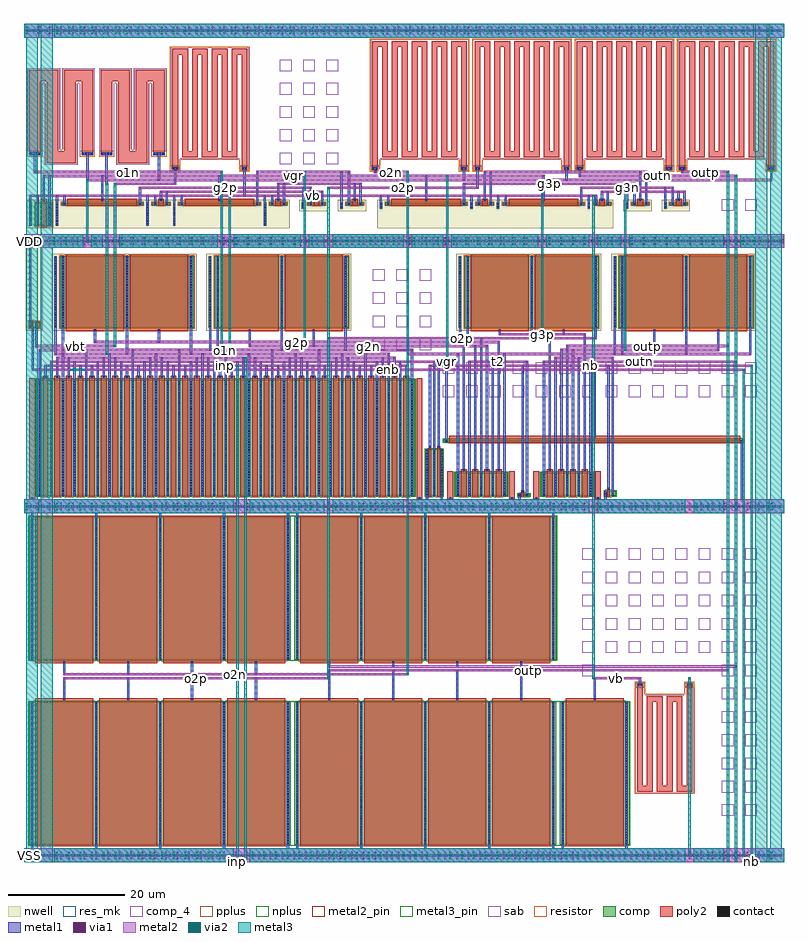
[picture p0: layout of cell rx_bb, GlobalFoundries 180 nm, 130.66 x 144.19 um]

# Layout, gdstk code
import gdstk
lib = gdstk.Library(unit=1e-6, precision=1e-09)
def R(c, l, rs):  # rectangles x0, y0, x1, y1
    for r in rs: c.add(gdstk.rectangle(r[:2], r[2:], *l))
def A(c, l, x, y, w, h, nx, ny, dx, dy):  # array of equal rectangles
    R(c, l, [(x+i*dx, y+j*dy, x+i*dx+w, y+j*dy+h) for i in range(nx) for j in range(ny)])
nwell = (21, 0)
comp = (22, 0)
comp_4 = (22, 4)
poly2 = (30, 0)
pplus = (31, 0)
nplus = (32, 0)
contact = (33, 0)
metal1 = (34, 0)
via1 = (35, 0)
metal2 = (36, 0)
metal2_pin = (36, 10)
via2 = (38, 0)
metal3 = (42, 0)
metal3_pin = (42, 10)
sab = (49, 0)
resistor = (62, 0)
res_mk = (110, 5)

rx_bb = lib.new_cell('rx_bb')
R(rx_bb, nwell, [(0.3,89.005,3.23,103.72), (4.78,89.005,29.66,102.27), (31.36,89.005,56.24,102.27), (74.35,89.005,99.23,102.27), (100.93,89.005,125.81,102.27), (0.15,103.72,130.51,105.12), (0.45,106.57,45.65,111.55), (60.71,106.57,101.33,111.55), (47.35,109.57,52.23,111.55), (53.93,109.57,58.81,111.55), (103.03,109.57,107.91,111.55), (109.61,109.57,114.49,111.55)])
A(rx_bb, comp, 96.9, 110.02, 0.38, 1, 3, 1, 6.58, 0)
A(rx_bb, comp, 42.2, 110.6, 3, 0.42, 3, 1, 6.58, 0)
A(rx_bb, comp, 97.88, 110.6, 3, 0.42, 3, 1, 6.58, 0)
R(rx_bb, comp, [(0.3,-1.39,130.36,-1.01), (0.9,0.6,45.9,25.17), (46.5,0.6,91.5,25.17), (92.1,0.6,104.1,25.17), (0.9,32.415,45.9,56.985), (46.5,32.415,91.5,56.985), (0.3,58.595,130.36,58.975), (85,60.545,85.38,60.585), (86.3,60.545,86.68,60.585), (2.2,60.585,67.2,80.585), (69.1,60.585,72,68.585), (74.1,60.585,83.1,64.585), (85,60.585,86.99,60.885), (88.89,60.585,97.89,64.585), (99.79,60.585,101.74,61.385), (85,60.885,85.38,60.925), (86.3,60.885,86.68,60.925), (72.13,69.855,123.58,70.275), (0.9,89.535,2.63,90.535), (5.23,89.535,5.61,101.82), (6.21,89.535,29.21,101.82), (31.81,89.535,32.19,101.82), (32.79,89.535,55.79,101.82), (74.8,89.535,75.18,101.82), (75.78,89.535,98.78,101.82), (101.38,89.535,101.76,101.82), (102.36,89.535,125.36,101.82), (0.3,104.23,130.36,104.61), (0.9,107.02,1.28,111.02), (1.88,107.02,4.88,111.02), (5.48,107.02,5.86,111.02), (21.06,107.02,21.44,111.02), (25.64,107.02,26.02,111.02), (41.22,107.02,41.6,111.02), (47.8,110.02,48.18,111.02), (54.38,110.02,54.76,111.02), (61.16,110.02,61.54,111.02), (76.74,110.02,77.12,111.02), (81.32,110.02,81.7,111.02), (6.46,110.6,20.46,111.02), (22.04,110.6,25.04,111.02), (26.62,110.6,40.62,111.02), (62.14,110.6,76.14,111.02), (77.72,110.6,80.72,111.02), (82.3,110.6,96.3,111.02), (0.3,140.395,130.36,140.775)])
A(rx_bb, comp_4, 120, 5.6, 2, 2, 1, 7, 0, 4)
A(rx_bb, comp_4, 124, 5.6, 2, 2, 1, 7, 0, 4)
A(rx_bb, comp_4, 96, 33.6, 2, 2, 8, 5, 4, 4)
A(rx_bb, comp_4, 72, 77.6, 2, 2, 14, 2, 4, 4)
A(rx_bb, comp_4, 60, 85.6, 2, 2, 3, 4, 4, 4)
A(rx_bb, comp_4, 44, 117.6, 2, 2, 3, 5, 4, 4)
R(rx_bb, comp_4, [(96,29.6,98,31.6), (120,109.6,122,111.6), (124,109.6,126,111.6)])
A(rx_bb, poly2, 1.9, 0.37, 10, 25.43, 4, 2, 11, 31.415)
A(rx_bb, poly2, 47.5, 0.37, 10, 25.43, 4, 2, 11, 31.415)
A(rx_bb, poly2, 105.4, 9.755, 2.7, 1, 3, 1, 3.4, 0)
A(rx_bb, poly2, 107.1, 10.755, 1, 14.415, 4, 1, 1.7, 0)
A(rx_bb, poly2, 3.2, 60.355, 1, 20.86, 32, 1, 2, 0)
A(rx_bb, poly2, 75.1, 60.355, 1, 4.86, 4, 1, 2, 0)
A(rx_bb, poly2, 89.89, 60.355, 1, 4.86, 4, 1, 2, 0)
A(rx_bb, poly2, 43.2, 110.37, 1, 1.28, 3, 1, 6.58, 0)
A(rx_bb, poly2, 98.88, 110.37, 1, 1.28, 3, 1, 6.58, 0)
A(rx_bb, poly2, 27.2, 118.815, 2.7, 1, 3, 1, 3.4, 0)
A(rx_bb, poly2, 61.56, 118.815, 2.7, 1, 4, 1, 3.4, 0)
A(rx_bb, poly2, 79.16, 118.815, 2.7, 1, 4, 1, 3.4, 0)
A(rx_bb, poly2, 96.76, 118.815, 2.7, 1, 4, 1, 3.4, 0)
A(rx_bb, poly2, 114.36, 118.815, 2.7, 1, 4, 1, 3.4, 0)
A(rx_bb, poly2, 27.2, 119.815, 1, 16.64, 6, 1, 1.7, 0)
A(rx_bb, poly2, 61.56, 119.815, 1, 17.97, 8, 1, 1.7, 0)
A(rx_bb, poly2, 79.16, 119.815, 1, 17.97, 8, 1, 1.7, 0)
A(rx_bb, poly2, 96.76, 119.815, 1, 17.97, 8, 1, 1.7, 0)
A(rx_bb, poly2, 114.36, 119.815, 1, 17.97, 8, 1, 1.7, 0)
A(rx_bb, poly2, 25.5, 136.455, 2.7, 1, 4, 1, 3.4, 0)
A(rx_bb, poly2, 59.86, 137.785, 2.7, 1, 5, 1, 3.4, 0)
A(rx_bb, poly2, 77.46, 137.785, 2.7, 1, 5, 1, 3.4, 0)
A(rx_bb, poly2, 95.06, 137.785, 2.7, 1, 5, 1, 3.4, 0)
A(rx_bb, poly2, 112.66, 137.785, 2.7, 1, 5, 1, 3.4, 0)
R(rx_bb, poly2, [(93.1,0.37,103.1,25.8), (105.4,10.755,106.4,28.28), (113.9,10.755,114.9,28.28), (107.1,25.17,109.8,26.17), (110.5,25.17,113.2,26.17), (0.9,60.015,1.9,80.815), (67.5,60.015,68.5,80.815), (72.8,60.015,73.8,64.815), (83.4,60.015,84.4,64.815), (87.59,60.015,88.59,64.815), (98.19,60.015,99.19,64.815), (69.55,60.355,70.05,69.215), (71.05,60.355,71.55,69.215), (85.49,60.355,85.99,61.555), (100.24,60.355,100.74,62.015), (73.13,69.625,123.13,70.905), (1.305,88.905,1.675,89.275), (7.21,88.905,17.21,102.05), (18.21,88.905,28.21,102.05), (33.79,88.905,43.79,102.05), (44.79,88.905,54.79,102.05), (76.78,88.905,86.78,102.05), (87.78,88.905,97.78,102.05), (103.36,88.905,113.36,102.05), (114.36,88.905,124.36,102.05), (1.35,89.275,1.63,90.765), (2.88,106.79,3.88,111.65), (7.46,110.37,19.46,111.65), (23.04,110.37,24.04,111.65), (27.62,110.37,39.62,111.65), (63.14,110.37,75.14,111.65), (78.72,110.37,79.72,111.65), (83.3,110.37,95.3,111.65), (25.5,116.705,26.5,136.455), (37.4,116.705,38.4,136.455), (59.86,116.705,60.86,137.785), (75.16,116.705,76.16,137.785), (77.46,116.705,78.46,137.785), (92.76,116.705,93.76,137.785), (95.06,116.705,96.06,137.785), (110.36,116.705,111.36,137.785), (112.66,116.705,113.66,137.785), (127.96,116.705,128.96,137.785), (3.9,117.815,8.9,119.815), (16.2,117.815,21.2,119.815), (0.9,119.205,2.9,131.85), (9.9,119.205,11.9,131.85), (13.2,119.205,15.2,131.85), (22.2,119.205,24.2,131.85), (3.9,119.815,5.9,131.85), (6.9,119.815,8.9,131.85), (16.2,119.815,18.2,131.85), (19.2,119.815,21.2,131.85), (0.9,131.85,5.9,133.85), (6.9,131.85,11.9,133.85), (13.2,131.85,18.2,133.85), (19.2,131.85,24.2,133.85)])
A(rx_bb, pplus, 42.97, 110.37, 1.46, 0.07, 3, 1, 6.58, 0)
A(rx_bb, pplus, 98.65, 110.37, 1.46, 0.07, 3, 2, 6.58, 0.81)
A(rx_bb, pplus, 42.04, 110.44, 3.32, 0.74, 3, 1, 6.58, 0)
A(rx_bb, pplus, 97.72, 110.44, 3.32, 0.74, 3, 1, 6.58, 0)
A(rx_bb, pplus, 2.65, 111.18, 1.46, 0.07, 3, 1, 20.16, 0)
R(rx_bb, pplus, [(0.28,-1.41,130.38,-0.99), (105.2,27.67,106.6,28.48), (113.7,27.67,115.1,28.48), (0.28,58.575,130.38,58.995), (1.12,89.305,1.86,89.375), (6.98,89.305,17.44,89.375), (17.98,89.305,28.44,89.375), (33.56,89.305,44.02,89.375), (44.56,89.305,55.02,89.375), (76.55,89.305,87.01,89.375), (87.55,89.305,98.01,89.375), (103.13,89.305,113.59,89.375), (114.13,89.305,124.59,89.375), (0.74,89.375,2.79,90.695), (6.05,89.375,29.37,101.98), (32.63,89.375,55.95,101.98), (75.62,89.375,98.94,101.98), (102.2,89.375,125.52,101.98), (1.12,90.695,1.86,90.765), (6.98,101.98,17.44,102.05), (17.98,101.98,28.44,102.05), (33.56,101.98,44.02,102.05), (44.56,101.98,55.02,102.05), (76.55,101.98,87.01,102.05), (87.55,101.98,98.01,102.05), (103.13,101.98,113.59,102.05), (114.13,101.98,124.59,102.05), (2.65,106.79,4.11,106.86), (1.72,106.86,5.04,111.18), (7.23,110.37,19.69,110.44), (22.81,110.37,24.27,110.44), (27.39,110.37,39.85,110.44), (62.91,110.37,75.37,110.44), (78.49,110.37,79.95,110.44), (83.07,110.37,95.53,110.44), (6.3,110.44,20.62,111.18), (21.88,110.44,25.2,111.18), (26.46,110.44,40.78,111.18), (61.98,110.44,76.3,111.18), (77.56,110.44,80.88,111.18), (82.14,110.44,96.46,111.18), (7.23,111.18,19.69,111.25), (27.39,111.18,39.85,111.25), (49.55,111.18,51.01,111.25), (56.13,111.18,57.59,111.25), (62.91,111.18,75.37,111.25), (78.49,111.18,79.95,111.25), (83.07,111.18,95.53,111.25), (25.3,116.505,26.7,117.315), (37.2,116.505,38.6,117.315), (59.66,116.505,61.06,117.315), (74.96,116.505,76.36,117.315), (77.26,116.505,78.66,117.315), (92.56,116.505,93.96,117.315), (94.86,116.505,96.26,117.315), (110.16,116.505,111.56,117.315), (112.46,116.505,113.86,117.315), (127.76,116.505,129.16,117.315), (3.6,117.515,9.2,120.115), (15.9,117.515,21.5,120.115), (0.6,118.905,3.2,131.55), (9.6,118.905,12.2,131.55), (12.9,118.905,15.5,131.55), (21.9,118.905,24.5,131.55), (3.6,120.115,6.2,131.55), (6.6,120.115,9.2,131.55), (15.9,120.115,18.5,131.55), (18.9,120.115,21.5,131.55), (0.6,131.55,6.2,134.15), (6.6,131.55,12.2,134.15), (12.9,131.55,18.5,134.15), (18.9,131.55,24.5,134.15), (0.28,140.375,130.38,140.795)])
A(rx_bb, nplus, 1.67, 0.37, 10.46, 0.07, 4, 2, 11, 24.96)
A(rx_bb, nplus, 47.27, 0.37, 10.46, 0.07, 4, 2, 11, 24.96)
A(rx_bb, nplus, 1.67, 32.185, 10.46, 0.07, 4, 2, 11, 24.96)
A(rx_bb, nplus, 47.27, 32.185, 10.46, 0.07, 4, 2, 11, 24.96)
A(rx_bb, nplus, 2.97, 60.355, 1.46, 0.07, 32, 2, 2, 20.39)
A(rx_bb, nplus, 74.87, 60.355, 1.46, 0.07, 4, 2, 2, 4.39)
A(rx_bb, nplus, 89.66, 60.355, 1.46, 0.07, 4, 2, 2, 4.39)
A(rx_bb, nplus, 96.88, 110, 0.42, 1.04, 3, 1, 6.58, 0)
R(rx_bb, nplus, [(92.87,0.37,103.33,0.44), (0.74,0.44,104.26,25.33), (92.87,25.33,103.33,25.4), (0.74,32.255,91.66,57.145), (69.32,60.355,70.28,60.425), (70.82,60.355,71.78,60.425), (85.26,60.355,86.22,60.385), (100.01,60.355,100.97,60.425), (84.84,60.385,86.84,60.425), (2.04,60.425,67.36,80.745), (68.94,60.425,72.16,68.745), (73.94,60.425,83.26,64.745), (84.84,60.425,87.15,61.045), (88.73,60.425,98.05,64.745), (99.63,60.425,101.9,61.545), (84.84,61.045,86.84,61.085), (85.26,61.085,86.22,61.115), (100.01,61.545,100.97,61.615), (69.32,68.745,70.28,68.815), (70.82,68.745,71.78,68.815), (72.9,69.625,123.36,69.695), (71.97,69.695,123.74,70.435), (72.9,70.435,123.36,70.505), (5.21,89.515,5.63,101.84), (31.79,89.515,32.21,101.84), (74.78,89.515,75.2,101.84), (101.36,89.515,101.78,101.84), (0.14,104.07,0.74,104.21), (129.92,104.07,130.52,104.21), (0.14,104.21,130.52,104.63), (0.14,104.63,0.74,104.77), (129.92,104.63,130.52,104.77), (0.88,107,1.3,111.04), (5.46,107,5.88,111.04), (21.04,107,21.46,111.04), (25.62,107,26.04,111.04), (41.2,107,41.62,111.04), (47.78,110,48.2,111.04), (54.36,110,54.78,111.04), (61.14,110,61.56,111.04), (76.72,110,77.14,111.04), (81.3,110,81.72,111.04)])
A(rx_bb, contact, 0.595, -1.31, 0.22, 0.22, 276, 2, 0.47, 59.985)
A(rx_bb, contact, 1.29, 0.79, 0.22, 0.22, 5, 52, 11, 0.47)
A(rx_bb, contact, 46.89, 0.79, 0.22, 0.22, 5, 52, 11, 0.47)
A(rx_bb, contact, 92.49, 0.79, 0.22, 0.22, 1, 52, 0, 0.47)
A(rx_bb, contact, 103.49, 0.79, 0.22, 0.22, 1, 52, 0, 0.47)
A(rx_bb, contact, 6.79, 25.505, 0.22, 0.22, 4, 2, 11, 6.355)
A(rx_bb, contact, 52.39, 25.505, 0.22, 0.22, 4, 2, 11, 6.355)
A(rx_bb, contact, 1.29, 32.605, 0.22, 0.22, 5, 52, 11, 0.47)
A(rx_bb, contact, 46.89, 32.605, 0.22, 0.22, 5, 52, 11, 0.47)
A(rx_bb, contact, 69.175, 60.715, 0.22, 0.22, 3, 17, 1.265, 0.47)
A(rx_bb, contact, 74.49, 60.83, 0.22, 0.22, 5, 8, 2, 0.47)
A(rx_bb, contact, 89.28, 60.83, 0.22, 0.22, 5, 8, 2, 0.47)
A(rx_bb, contact, 2.59, 60.84, 0.22, 0.22, 33, 42, 2, 0.47)
A(rx_bb, contact, 75.49, 64.92, 0.22, 0.22, 4, 1, 2, 0)
A(rx_bb, contact, 90.28, 64.92, 0.22, 0.22, 4, 1, 2, 0)
A(rx_bb, contact, 3.59, 80.92, 0.22, 0.22, 32, 1, 2, 0)
A(rx_bb, contact, 5.31, 89.69, 0.22, 0.22, 1, 26, 0, 0.47)
A(rx_bb, contact, 6.6, 89.69, 0.22, 0.22, 3, 26, 11, 0.47)
A(rx_bb, contact, 31.89, 89.69, 0.22, 0.22, 1, 26, 0, 0.47)
A(rx_bb, contact, 33.18, 89.69, 0.22, 0.22, 3, 26, 11, 0.47)
A(rx_bb, contact, 74.88, 89.69, 0.22, 0.22, 1, 26, 0, 0.47)
A(rx_bb, contact, 76.17, 89.69, 0.22, 0.22, 3, 26, 11, 0.47)
A(rx_bb, contact, 101.46, 89.69, 0.22, 0.22, 1, 26, 0, 0.47)
A(rx_bb, contact, 102.75, 89.69, 0.22, 0.22, 3, 26, 11, 0.47)
A(rx_bb, contact, 0.595, 104.31, 0.22, 0.22, 276, 2, 0.47, 36.165)
A(rx_bb, contact, 0.98, 107.265, 0.22, 0.22, 1, 8, 0, 0.47)
A(rx_bb, contact, 2.27, 107.265, 0.22, 0.22, 1, 8, 0, 0.47)
A(rx_bb, contact, 4.27, 107.265, 0.22, 0.22, 1, 8, 0, 0.47)
A(rx_bb, contact, 5.56, 107.265, 0.22, 0.22, 1, 8, 0, 0.47)
A(rx_bb, contact, 21.14, 107.265, 0.22, 0.22, 1, 8, 0, 0.47)
A(rx_bb, contact, 25.72, 107.265, 0.22, 0.22, 1, 8, 0, 0.47)
A(rx_bb, contact, 41.3, 107.265, 0.22, 0.22, 1, 8, 0, 0.47)
A(rx_bb, contact, 96.98, 110.175, 0.22, 0.22, 3, 2, 6.58, 0.47)
A(rx_bb, contact, 3.27, 111.355, 0.22, 0.22, 5, 1, 10.08, 0)
A(rx_bb, contact, 69.03, 111.355, 0.22, 0.22, 4, 1, 10.08, 0)
A(rx_bb, contact, 1.085, 119.375, 0.22, 0.22, 4, 1, 0.47, 0)
A(rx_bb, contact, 10.085, 119.375, 0.22, 0.22, 4, 1, 0.47, 0)
A(rx_bb, contact, 13.385, 119.375, 0.22, 0.22, 4, 1, 0.47, 0)
A(rx_bb, contact, 22.385, 119.375, 0.22, 0.22, 4, 1, 0.47, 0)
R(rx_bb, contact, [(97.99,25.505,98.21,25.725), (105.555,27.99,105.775,28.21), (106.025,27.99,106.245,28.21), (114.055,27.99,114.275,28.21), (114.525,27.99,114.745,28.21), (1.29,60.09,1.51,60.31), (67.89,60.09,68.11,60.31), (73.19,60.09,73.41,60.31), (83.79,60.09,84.01,60.31), (87.98,60.09,88.2,60.31), (98.58,60.09,98.8,60.31), (85.08,60.625,85.3,60.845), (86.38,60.625,86.6,60.845), (99.865,60.875,100.085,61.095), (101.13,60.875,101.35,61.095), (85.63,61.26,85.85,61.48), (100.38,61.72,100.6,61.94), (69.69,68.92,69.91,69.14), (71.19,68.92,71.41,69.14), (72.52,69.955,72.74,70.175), (123.285,69.955,123.505,70.175), (98.02,70.61,98.24,70.83), (1.38,88.98,1.6,89.2), (12.1,88.98,12.32,89.2), (23.1,88.98,23.32,89.2), (38.68,88.98,38.9,89.2), (49.68,88.98,49.9,89.2), (81.67,88.98,81.89,89.2), (92.67,88.98,92.89,89.2), (108.25,88.98,108.47,89.2), (119.25,88.98,119.47,89.2), (0.975,89.69,1.195,89.91), (2.02,89.69,2.24,89.91), (0.975,90.16,1.195,90.38), (2.02,90.16,2.24,90.38), (47.88,110.175,48.1,110.395), (54.46,110.175,54.68,110.395), (61.24,110.175,61.46,110.395), (76.82,110.175,77.04,110.395), (81.4,110.175,81.62,110.395), (47.88,110.645,48.1,110.865), (54.46,110.645,54.68,110.865), (61.24,110.645,61.46,110.865), (76.82,110.645,77.04,110.865), (81.4,110.645,81.62,110.865), (6.85,110.7,7.07,110.92), (19.85,110.7,20.07,110.92), (22.43,110.7,22.65,110.92), (24.43,110.7,24.65,110.92), (27.01,110.7,27.23,110.92), (40.01,110.7,40.23,110.92), (42.59,110.7,42.81,110.92), (44.59,110.7,44.81,110.92), (49.17,110.7,49.39,110.92), (51.17,110.7,51.39,110.92), (55.75,110.7,55.97,110.92), (57.75,110.7,57.97,110.92), (62.53,110.7,62.75,110.92), (75.53,110.7,75.75,110.92), (78.11,110.7,78.33,110.92), (80.11,110.7,80.33,110.92), (82.69,110.7,82.91,110.92), (95.69,110.7,95.91,110.92), (98.27,110.7,98.49,110.92), (100.27,110.7,100.49,110.92), (104.85,110.7,105.07,110.92), (106.85,110.7,107.07,110.92), (111.43,110.7,111.65,110.92), (113.43,110.7,113.65,110.92), (50.17,111.355,50.39,111.575), (56.75,111.355,56.97,111.575), (105.85,111.355,106.07,111.575), (112.43,111.355,112.65,111.575), (25.655,116.775,25.875,116.995), (26.125,116.775,26.345,116.995), (37.555,116.775,37.775,116.995), (38.025,116.775,38.245,116.995), (60.015,116.775,60.235,116.995), (60.485,116.775,60.705,116.995), (75.315,116.775,75.535,116.995), (75.785,116.775,76.005,116.995), (77.615,116.775,77.835,116.995), (78.085,116.775,78.305,116.995), (92.915,116.775,93.135,116.995), (93.385,116.775,93.605,116.995), (95.215,116.775,95.435,116.995), (95.685,116.775,95.905,116.995), (110.515,116.775,110.735,116.995), (110.985,116.775,111.205,116.995), (112.815,116.775,113.035,116.995), (113.285,116.775,113.505,116.995), (128.115,116.775,128.335,116.995), (128.585,116.775,128.805,116.995)])
A(rx_bb, metal1, 1.21, 0, 0.38, 25.175, 5, 2, 11, 32.41)
A(rx_bb, metal1, 46.81, 0, 0.38, 25.175, 5, 2, 11, 32.41)
A(rx_bb, metal1, 6.71, 25.425, 0.38, 4.005, 4, 1, 11, 0)
A(rx_bb, metal1, 52.31, 25.425, 0.38, 5.365, 4, 1, 11, 0)
A(rx_bb, metal1, 6.71, 29.73, 0.38, 2.43, 4, 1, 11, 0)
A(rx_bb, metal1, 52.31, 31.09, 0.38, 1.07, 4, 1, 11, 0)
A(rx_bb, metal1, 2.51, 60.58, 0.38, 25.29, 9, 1, 8, 0)
A(rx_bb, metal1, 4.51, 60.58, 0.38, 23.25, 16, 1, 4, 0)
A(rx_bb, metal1, 14.51, 60.58, 0.38, 24.61, 7, 1, 8, 0)
A(rx_bb, metal1, 102.67, 84.81, 0.38, 17.015, 3, 1, 11, 0)
A(rx_bb, metal1, 33.1, 85.49, 0.38, 16.335, 3, 1, 11, 0)
A(rx_bb, metal1, 76.09, 87.53, 0.38, 14.295, 3, 1, 11, 0)
A(rx_bb, metal1, 75.47, 114.73, 0.38, 1.975, 4, 1, 17.6, 0)
R(rx_bb, metal1, [(0,-2.4,130.66,0), (92.41,0,92.79,25.175), (103.41,0,103.79,25.175), (97.91,25.425,98.29,29.43), (105.4,27.92,106.4,28.28), (113.9,27.92,114.9,28.28), (105.71,28.28,106.09,29.43), (114.21,28.28,114.59,29.43), (0,57.585,130.66,59.985), (1.21,59.985,1.59,60.385), (67.81,59.985,68.19,60.385), (69.095,59.985,69.475,68.59), (71.625,59.985,72.005,68.59), (73.11,59.985,73.49,60.385), (83.71,59.985,84.09,60.385), (85,59.985,85.38,60.93), (87.9,59.985,88.28,60.385), (98.5,59.985,98.88,60.385), (99.785,59.985,100.165,61.39), (123.205,59.985,123.585,70.28), (86.3,60.54,86.68,83.83), (6.51,60.58,6.89,84.81), (70.36,60.58,70.74,83.83), (74.41,60.58,74.79,85.19), (76.41,60.58,76.79,83.83), (78.41,60.58,78.79,87.91), (80.41,60.58,80.79,83.83), (82.41,60.58,82.79,85.19), (89.2,60.58,89.58,83.83), (91.2,60.58,91.58,84.51), (93.2,60.58,93.58,86.55), (95.2,60.58,95.58,84.51), (97.2,60.58,97.58,83.83), (101.05,60.58,101.43,84.51), (85.55,61.18,85.93,83.15), (100.3,61.64,100.68,83.15), (75.41,64.84,75.79,87.23), (77.41,64.84,77.79,86.55), (79.41,64.84,79.79,86.55), (81.41,64.84,81.79,87.23), (90.2,64.84,90.58,88.59), (92.2,64.84,92.58,85.87), (94.2,64.84,94.58,85.87), (96.2,64.84,96.58,88.59), (69.61,68.84,69.99,83.15), (71.11,68.84,71.49,83.15), (72.44,69.85,72.82,83.83), (97.94,70.53,98.32,83.15), (3.51,80.84,3.89,83.15), (5.51,80.84,5.89,84.51), (7.51,80.84,7.89,84.51), (9.51,80.84,9.89,83.15), (11.51,80.84,11.89,83.15), (13.51,80.84,13.89,84.51), (15.51,80.84,15.89,84.51), (17.51,80.84,17.89,83.15), (19.51,80.84,19.89,83.15), (21.51,80.84,21.89,84.51), (23.51,80.84,23.89,84.51), (25.51,80.84,25.89,83.15), (27.51,80.84,27.89,83.15), (29.51,80.84,29.89,84.51), (31.51,80.84,31.89,84.51), (33.51,80.84,33.89,83.15), (35.51,80.84,35.89,83.15), (37.51,80.84,37.89,84.51), (39.51,80.84,39.89,84.51), (41.51,80.84,41.89,83.15), (43.51,80.84,43.89,83.15), (45.51,80.84,45.89,84.51), (47.51,80.84,47.89,84.51), (49.51,80.84,49.89,83.15), (51.51,80.84,51.89,83.15), (53.51,80.84,53.89,84.51), (55.51,80.84,55.89,84.51), (57.51,80.84,57.89,83.15), (59.51,80.84,59.89,83.15), (61.51,80.84,61.89,84.51), (63.51,80.84,63.89,84.51), (65.51,80.84,65.89,83.15), (1.3,82.09,1.68,89.28), (5.23,84.81,5.61,101.82), (6.51,84.81,6.9,85.19), (17.52,84.81,17.9,101.825), (28.52,84.81,28.9,101.825), (101.38,84.81,101.76,101.82), (6.52,85.19,6.9,101.825), (31.81,85.49,32.19,101.82), (108.17,85.49,108.55,89.28), (119.17,85.49,119.55,89.28), (1.94,86.17,2.32,90.54), (38.6,86.17,38.98,89.28), (49.6,86.17,49.98,89.28), (12.02,86.85,12.4,89.28), (23.02,86.85,23.4,89.28), (74.8,87.53,75.18,101.82), (81.59,88.21,81.97,89.28), (92.59,88.21,92.97,89.28), (0.895,89.53,1.275,103.22), (0,103.22,130.66,105.62), (2.19,107.015,2.57,112.39), (4.19,107.015,4.57,115.79), (0.9,107.02,1.28,112.39), (5.48,107.02,5.86,112.39), (21.06,107.02,21.44,112.39), (25.64,107.02,26.02,112.39), (41.22,107.02,41.6,112.39), (47.8,110.02,48.18,113.75), (54.38,110.02,54.76,116.47), (61.16,110.02,61.54,112.39), (76.74,110.02,77.12,112.39), (81.32,110.02,81.7,112.39), (96.9,110.02,97.28,112.39), (103.48,110.02,103.86,114.43), (110.06,110.02,110.44,113.75), (6.77,110.595,7.15,112.39), (19.77,110.595,20.15,113.75), (22.35,110.595,22.73,112.39), (24.35,110.595,24.73,113.07), (26.93,110.595,27.31,112.39), (39.93,110.595,40.31,116.47), (42.51,110.595,42.89,112.39), (44.51,110.595,44.89,114.43), (49.09,110.595,49.47,113.75), (51.09,110.595,51.47,113.07), (55.67,110.595,56.05,116.47), (57.67,110.595,58.05,114.43), (62.45,110.595,62.83,112.39), (75.45,110.595,75.83,114.43), (78.03,110.595,78.41,112.39), (80.03,110.595,80.41,116.47), (82.61,110.595,82.99,112.39), (95.61,110.595,95.99,113.75), (98.19,110.595,98.57,112.39), (100.19,110.595,100.57,113.07), (104.77,110.595,105.15,114.43), (106.77,110.595,107.15,116.47), (111.35,110.595,111.73,113.75), (113.35,110.595,113.73,113.07), (3.19,111.275,3.57,115.79), (13.27,111.275,13.65,115.79), (23.35,111.275,23.73,113.07), (33.43,111.275,33.81,115.79), (43.51,111.275,43.89,114.43), (50.09,111.275,50.47,113.07), (56.67,111.275,57.05,114.43), (68.95,111.275,69.33,115.79), (79.03,111.275,79.41,116.47), (89.11,111.275,89.49,115.79), (99.19,111.275,99.57,113.07), (105.77,111.275,106.15,116.47), (112.35,111.275,112.73,113.07), (37.71,112.01,38.09,116.705), (77.77,113.37,78.15,116.705), (14.01,114.05,14.39,119.205), (25.81,114.05,26.19,116.705), (10.71,114.73,11.09,119.205), (23.01,114.73,23.39,119.205), (95.37,115.41,95.75,116.705), (1.71,116.09,2.09,119.205), (60.17,116.09,60.55,116.705), (112.97,116.09,113.35,116.705), (25.5,116.705,26.5,117.065), (37.4,116.705,38.4,117.065), (59.86,116.705,60.86,117.065), (75.16,116.705,76.16,117.065), (77.46,116.705,78.46,117.065), (92.76,116.705,93.76,117.065), (95.06,116.705,96.06,117.065), (110.36,116.705,111.36,117.065), (112.66,116.705,113.66,117.065), (127.96,116.705,128.96,117.065), (0.9,119.205,2.9,119.665), (9.9,119.205,11.9,119.665), (13.2,119.205,15.2,119.665), (22.2,119.205,24.2,119.665), (0,139.385,130.66,141.785)])
A(rx_bb, via1, 0.27, -1.85, 0.26, 0.26, 65, 3, 2, 0.52)
A(rx_bb, via1, 6.77, 29.11, 0.26, 0.26, 4, 2, 11, 0.68)
A(rx_bb, via1, 52.37, 30.47, 0.26, 0.26, 4, 2, 11, 0.68)
A(rx_bb, via1, 0.27, 58.135, 0.26, 0.26, 65, 3, 2, 0.52)
A(rx_bb, via1, 4.57, 83.51, 0.26, 0.26, 16, 1, 4, 0)
A(rx_bb, via1, 30.57, 84.87, 0.26, 0.26, 5, 1, 8, 0)
A(rx_bb, via1, 102.73, 84.87, 0.26, 0.26, 3, 1, 11, 0)
A(rx_bb, via1, 2.57, 85.55, 0.26, 0.26, 4, 1, 8, 0)
A(rx_bb, via1, 0.27, 103.77, 0.26, 0.26, 65, 3, 2, 0.52)
A(rx_bb, via1, 75.53, 114.79, 0.26, 0.26, 4, 1, 17.6, 0)
A(rx_bb, via1, 0.27, 139.935, 0.26, 0.26, 65, 3, 2, 0.52)
R(rx_bb, via1, [(97.97,29.11,98.23,29.37), (105.77,29.11,106.03,29.37), (114.27,29.11,114.53,29.37), (1.36,82.15,1.62,82.41), (3.57,82.83,3.83,83.09), (9.57,82.83,9.83,83.09), (11.57,82.83,11.83,83.09), (17.57,82.83,17.83,83.09), (19.57,82.83,19.83,83.09), (25.57,82.83,25.83,83.09), (27.57,82.83,27.83,83.09), (33.57,82.83,33.83,83.09), (35.57,82.83,35.83,83.09), (41.57,82.83,41.83,83.09), (43.57,82.83,43.83,83.09), (49.57,82.83,49.83,83.09), (51.57,82.83,51.83,83.09), (57.57,82.83,57.83,83.09), (59.57,82.83,59.83,83.09), (65.57,82.83,65.83,83.09), (69.67,82.83,69.93,83.09), (71.17,82.83,71.43,83.09), (85.61,82.83,85.87,83.09), (98,82.83,98.26,83.09), (100.36,82.83,100.62,83.09), (70.42,83.51,70.68,83.77), (72.5,83.51,72.76,83.77), (76.47,83.51,76.73,83.77), (80.47,83.51,80.73,83.77), (86.36,83.51,86.62,83.77), (89.26,83.51,89.52,83.77), (97.26,83.51,97.52,83.77), (5.57,84.19,5.83,84.45), (7.57,84.19,7.83,84.45), (13.57,84.19,13.83,84.45), (15.57,84.19,15.83,84.45), (21.57,84.19,21.83,84.45), (23.57,84.19,23.83,84.45), (29.57,84.19,29.83,84.45), (31.57,84.19,31.83,84.45), (37.57,84.19,37.83,84.45), (39.57,84.19,39.83,84.45), (45.57,84.19,45.83,84.45), (47.57,84.19,47.83,84.45), (53.57,84.19,53.83,84.45), (55.57,84.19,55.83,84.45), (61.57,84.19,61.83,84.45), (63.57,84.19,63.83,84.45), (91.26,84.19,91.52,84.45), (95.26,84.19,95.52,84.45), (101.11,84.19,101.37,84.45), (5.29,84.87,5.55,85.13), (6.58,84.87,6.84,85.13), (14.57,84.87,14.83,85.13), (17.58,84.87,17.84,85.13), (22.57,84.87,22.83,85.13), (28.58,84.87,28.84,85.13), (74.47,84.87,74.73,85.13), (82.47,84.87,82.73,85.13), (101.44,84.87,101.7,85.13), (31.87,85.55,32.13,85.81), (33.16,85.55,33.42,85.81), (34.57,85.55,34.83,85.81), (42.57,85.55,42.83,85.81), (44.16,85.55,44.42,85.81), (50.57,85.55,50.83,85.81), (55.16,85.55,55.42,85.81), (58.57,85.55,58.83,85.81), (66.57,85.55,66.83,85.81), (92.26,85.55,92.52,85.81), (94.26,85.55,94.52,85.81), (108.23,85.55,108.49,85.81), (119.23,85.55,119.49,85.81), (2,86.23,2.26,86.49), (38.66,86.23,38.92,86.49), (49.66,86.23,49.92,86.49), (77.47,86.23,77.73,86.49), (79.47,86.23,79.73,86.49), (93.26,86.23,93.52,86.49), (12.08,86.91,12.34,87.17), (23.08,86.91,23.34,87.17), (75.47,86.91,75.73,87.17), (81.47,86.91,81.73,87.17), (74.86,87.59,75.12,87.85), (76.15,87.59,76.41,87.85), (78.47,87.59,78.73,87.85), (87.15,87.59,87.41,87.85), (98.15,87.59,98.41,87.85), (81.65,88.27,81.91,88.53), (90.26,88.27,90.52,88.53), (92.65,88.27,92.91,88.53), (96.26,88.27,96.52,88.53), (0.96,112.07,1.22,112.33), (2.25,112.07,2.51,112.33), (5.54,112.07,5.8,112.33), (6.83,112.07,7.09,112.33), (21.12,112.07,21.38,112.33), (22.41,112.07,22.67,112.33), (25.7,112.07,25.96,112.33), (26.99,112.07,27.25,112.33), (37.77,112.07,38.03,112.33), (41.28,112.07,41.54,112.33), (42.57,112.07,42.83,112.33), (61.22,112.07,61.48,112.33), (62.51,112.07,62.77,112.33), (76.8,112.07,77.06,112.33), (78.09,112.07,78.35,112.33), (81.38,112.07,81.64,112.33), (82.67,112.07,82.93,112.33), (96.96,112.07,97.22,112.33), (98.25,112.07,98.51,112.33), (23.41,112.75,23.67,113.01), (24.41,112.75,24.67,113.01), (50.15,112.75,50.41,113.01), (51.15,112.75,51.41,113.01), (99.25,112.75,99.51,113.01), (100.25,112.75,100.51,113.01), (112.41,112.75,112.67,113.01), (113.41,112.75,113.67,113.01), (19.83,113.43,20.09,113.69), (47.86,113.43,48.12,113.69), (49.15,113.43,49.41,113.69), (77.83,113.43,78.09,113.69), (95.67,113.43,95.93,113.69), (110.12,113.43,110.38,113.69), (111.41,113.43,111.67,113.69), (14.07,114.11,14.33,114.37), (25.87,114.11,26.13,114.37), (43.57,114.11,43.83,114.37), (44.57,114.11,44.83,114.37), (56.73,114.11,56.99,114.37), (57.73,114.11,57.99,114.37), (75.51,114.11,75.77,114.37), (103.54,114.11,103.8,114.37), (104.83,114.11,105.09,114.37), (10.77,114.79,11.03,115.05), (23.07,114.79,23.33,115.05), (3.25,115.47,3.51,115.73), (4.25,115.47,4.51,115.73), (13.33,115.47,13.59,115.73), (33.49,115.47,33.75,115.73), (69.01,115.47,69.27,115.73), (89.17,115.47,89.43,115.73), (95.43,115.47,95.69,115.73), (1.77,116.15,2.03,116.41), (39.99,116.15,40.25,116.41), (54.44,116.15,54.7,116.41), (55.73,116.15,55.99,116.41), (60.23,116.15,60.49,116.41), (79.09,116.15,79.35,116.41), (80.09,116.15,80.35,116.41), (105.83,116.15,106.09,116.41), (106.83,116.15,107.09,116.41), (113.03,116.15,113.29,116.41)])
R(rx_bb, metal2, [(0,-2.4,130.66,0), (6.71,29.05,52.55,29.43), (97.73,29.05,106.09,29.43), (114.21,29.05,114.6,29.43), (6.71,29.73,66.15,30.11), (52.31,30.41,121.23,30.79), (52.31,31.09,122.59,31.47), (0,57.585,130.66,59.985), (1.3,82.09,8.35,82.47), (10.01,82.09,123.95,82.47), (3.51,82.77,65.89,83.15), (69.61,82.77,125.31,83.15), (4.51,83.45,70.74,83.83), (72.44,83.45,72.95,83.83), (76.41,83.45,86.68,83.83), (89.2,83.45,122.59,83.83), (5.51,84.13,63.89,84.51), (91.2,84.13,101.43,84.51), (5.23,84.81,62.89,85.19), (65.77,84.81,125.05,85.19), (2.51,85.49,66.89,85.87), (92.2,85.49,119.55,85.87), (1.94,86.17,15.83,86.55), (38.6,86.17,79.79,86.55), (93.2,86.17,121.23,86.55), (12.02,86.85,81.79,87.23), (52.17,87.53,98.47,87.91), (81.59,88.21,96.58,88.59), (0,103.22,130.66,105.62), (0.9,112.01,98.57,112.39), (23.35,112.69,51.47,113.07), (99.19,112.69,113.73,113.07), (19.77,113.37,49.47,113.75), (52.17,113.37,78.15,113.75), (95.61,113.37,111.73,113.75), (14.01,114.05,14.47,114.43), (15.45,114.05,26.19,114.43), (43.51,114.05,58.05,114.43), (75.45,114.05,105.15,114.43), (10.69,114.73,128.65,115.11), (3.19,115.41,89.49,115.79), (95.37,115.41,122.59,115.79), (1.71,116.09,34.19,116.47), (39.93,116.09,56.05,116.47), (60.17,116.09,66.15,116.47), (79.03,116.09,107.15,116.47), (112.97,116.09,121.23,116.47), (0,139.385,130.66,141.785)])
R(rx_bb, metal2_pin, [(0.95,-1.25,1.05,-1.15), (0.95,104.37,1.05,104.47)])
A(rx_bb, via2, 0.37, -1.85, 0.26, 0.26, 1, 3, 0, 0.52)
A(rx_bb, via2, 5.57, -1.85, 0.26, 0.26, 15, 3, 2, 0.52)
A(rx_bb, via2, 39.15, -1.85, 0.26, 0.26, 37, 3, 2, 0.52)
A(rx_bb, via2, 115.48, -1.85, 0.26, 0.26, 3, 3, 2, 0.52)
A(rx_bb, via2, 128.43, -1.85, 0.26, 0.26, 1, 3, 0, 0.52)
A(rx_bb, via2, 0.37, 58.135, 0.26, 0.26, 1, 3, 0, 0.52)
A(rx_bb, via2, 5.57, 58.135, 0.26, 0.26, 15, 3, 2, 0.52)
A(rx_bb, via2, 39.15, 58.135, 0.26, 0.26, 6, 3, 2, 0.52)
A(rx_bb, via2, 53.43, 58.135, 0.26, 0.26, 6, 3, 2, 0.52)
A(rx_bb, via2, 67.03, 58.135, 0.26, 0.26, 15, 3, 2, 0.52)
A(rx_bb, via2, 98.99, 58.135, 0.26, 0.26, 8, 3, 2, 0.52)
A(rx_bb, via2, 115.48, 58.135, 0.26, 0.26, 3, 3, 2, 0.52)
A(rx_bb, via2, 128.43, 58.135, 0.26, 0.26, 1, 3, 0, 0.52)
A(rx_bb, via2, 3.07, 103.77, 0.26, 0.26, 4, 3, 2, 0.52)
A(rx_bb, via2, 11.95, 103.77, 0.26, 0.26, 1, 3, 0, 0.52)
A(rx_bb, via2, 16.71, 103.77, 0.26, 0.26, 8, 3, 2, 0.52)
A(rx_bb, via2, 36.43, 103.77, 0.26, 0.26, 6, 3, 2, 0.52)
A(rx_bb, via2, 49.35, 103.77, 0.26, 0.26, 1, 3, 0, 0.52)
A(rx_bb, via2, 53.43, 103.77, 0.26, 0.26, 6, 3, 2, 0.52)
A(rx_bb, via2, 67.03, 103.77, 0.26, 0.26, 3, 3, 2, 0.52)
A(rx_bb, via2, 73.83, 103.77, 0.26, 0.26, 7, 3, 2, 0.52)
A(rx_bb, via2, 90.15, 103.77, 0.26, 0.26, 4, 3, 2, 0.52)
A(rx_bb, via2, 98.99, 103.77, 0.26, 0.26, 1, 3, 0, 0.52)
A(rx_bb, via2, 100.99, 103.77, 0.26, 0.26, 1, 3, 0, 0.52)
A(rx_bb, via2, 104.43, 103.77, 0.26, 0.26, 8, 3, 2, 0.52)
A(rx_bb, via2, 123.47, 103.77, 0.26, 0.26, 1, 3, 0, 0.52)
A(rx_bb, via2, 125.47, 103.77, 0.26, 0.26, 1, 3, 0, 0.52)
A(rx_bb, via2, 0.37, 139.935, 0.26, 0.26, 1, 3, 0, 0.52)
A(rx_bb, via2, 5.57, 139.935, 0.26, 0.26, 60, 3, 2, 0.52)
A(rx_bb, via2, 128.43, 139.935, 0.26, 0.26, 1, 3, 0, 0.52)
R(rx_bb, via2, [(114.28,-1.33,114.54,-1.07), (52.23,29.11,52.49,29.37), (97.79,29.11,98.05,29.37), (114.28,29.11,114.54,29.37), (65.83,29.79,66.09,30.05), (120.91,30.47,121.17,30.73), (122.27,31.15,122.53,31.41), (8.03,82.15,8.29,82.41), (10.07,82.15,10.33,82.41), (123.63,82.15,123.89,82.41), (36.59,82.83,36.85,83.09), (124.99,82.83,125.25,83.09), (72.63,83.51,72.89,83.77), (122.27,83.51,122.53,83.77), (37.95,84.19,38.21,84.45), (14.15,84.87,14.41,85.13), (65.83,84.87,66.09,85.13), (33.87,85.55,34.13,85.81), (103.23,85.55,103.49,85.81), (15.51,86.23,15.77,86.49), (48.15,86.23,48.41,86.49), (120.91,86.23,121.17,86.49), (35.23,86.91,35.49,87.17), (52.23,87.59,52.49,87.85), (88.95,88.27,89.21,88.53), (10.75,104.29,11.01,104.55), (97.79,112.07,98.05,112.33), (35.23,113.43,35.49,113.69), (52.23,113.43,52.49,113.69), (103.23,113.43,103.49,113.69), (14.15,114.11,14.41,114.37), (15.51,114.11,15.77,114.37), (88.95,114.11,89.21,114.37), (10.75,114.79,11.01,115.05), (72.63,115.47,72.89,115.73), (122.27,115.47,122.53,115.73), (33.87,116.15,34.13,116.41), (48.15,116.15,48.41,116.41), (65.83,116.15,66.09,116.41), (120.91,116.15,121.17,116.41)])
R(rx_bb, metal3, [(0,-2.4,2.6,0), (2.9,-2.4,4.9,103.22), (5.2,-2.4,36.02,0), (36.53,-2.4,36.91,83.15), (37.89,-2.4,38.27,84.51), (38.78,-2.4,113.71,0), (115.11,-2.4,120.34,0), (120.85,-2.4,121.23,116.47), (122.21,-2.4,122.59,115.79), (123.57,-2.4,123.95,82.47), (124.93,-2.4,125.31,83.15), (125.76,-2.4,127.76,103.22), (128.06,-2.4,130.66,0), (114.22,-1.39,114.6,29.43), (0.4,0,2.4,57.585), (128.26,0,130.26,57.585), (52.17,29.05,52.55,113.75), (97.73,29.05,98.11,112.39), (65.77,29.73,66.15,116.47), (0,57.585,2.6,59.985), (5.2,57.585,36.02,59.985), (38.78,57.585,51.66,59.985), (53.06,57.585,65.26,59.985), (66.66,57.585,97.22,59.985), (98.62,57.585,113.71,59.985), (115.11,57.585,120.34,59.985), (128.06,57.585,130.66,59.985), (0.4,59.985,2.4,139.385), (128.26,59.985,130.26,139.385), (7.97,82.09,10.39,82.47), (72.57,83.45,72.95,115.79), (14.09,84.81,14.47,114.43), (33.81,85.49,34.19,116.47), (103.17,85.49,103.55,113.75), (15.45,86.17,15.83,114.43), (48.09,86.17,48.47,116.47), (35.17,86.85,35.55,113.75), (88.89,88.21,89.27,114.43), (2.7,103.22,10.18,105.62), (11.58,103.22,13.58,105.62), (16.34,103.22,33.3,105.62), (36.06,103.22,47.58,105.62), (48.98,103.22,51.66,105.62), (53.06,103.22,65.26,105.62), (66.66,103.22,72.06,105.62), (73.46,103.22,88.38,105.62), (89.78,103.22,97.22,105.62), (98.62,103.22,102.66,105.62), (104.06,103.22,120.34,105.62), (123.1,103.22,127.96,105.62), (10.69,104.23,11.07,115.11), (2.9,105.62,4.9,141.785), (125.76,105.62,127.76,141.785), (0,139.385,2.6,141.785), (5.2,139.385,125.46,141.785), (128.06,139.385,130.66,141.785)])
A(rx_bb, metal3_pin, 120.99, -2.25, 0.1, 0.1, 4, 1, 1.36, 0)
R(rx_bb, metal3_pin, [(36.67,-2.25,36.77,-2.15), (38.03,-2.25,38.13,-2.15)])
A(rx_bb, sab, 105.12, 9.475, 3.26, 1.56, 3, 1, 3.4, 0)
A(rx_bb, sab, 106.82, 11.035, 1.56, 13.855, 4, 1, 1.7, 0)
A(rx_bb, sab, 26.92, 118.535, 3.26, 1.56, 3, 1, 3.4, 0)
A(rx_bb, sab, 59.58, 118.535, 16.86, 20.53, 4, 1, 17.6, 0)
A(rx_bb, sab, 61.28, 118.535, 3.26, 1.56, 4, 1, 3.4, 0)
A(rx_bb, sab, 78.88, 118.535, 3.26, 1.56, 4, 1, 3.4, 0)
A(rx_bb, sab, 96.48, 118.535, 3.26, 1.56, 4, 1, 3.4, 0)
A(rx_bb, sab, 114.08, 118.535, 3.26, 1.56, 4, 1, 3.4, 0)
A(rx_bb, sab, 26.92, 120.095, 1.56, 16.08, 6, 1, 1.7, 0)
A(rx_bb, sab, 61.28, 120.095, 1.56, 17.41, 8, 1, 1.7, 0)
A(rx_bb, sab, 78.88, 120.095, 1.56, 17.41, 8, 1, 1.7, 0)
A(rx_bb, sab, 96.48, 120.095, 1.56, 17.41, 8, 1, 1.7, 0)
A(rx_bb, sab, 114.08, 120.095, 1.56, 17.41, 8, 1, 1.7, 0)
A(rx_bb, sab, 25.22, 136.175, 3.26, 1.56, 4, 1, 3.4, 0)
A(rx_bb, sab, 59.58, 137.505, 3.26, 1.56, 5, 1, 3.4, 0)
A(rx_bb, sab, 77.18, 137.505, 3.26, 1.56, 5, 1, 3.4, 0)
A(rx_bb, sab, 94.78, 137.505, 3.26, 1.56, 5, 1, 3.4, 0)
A(rx_bb, sab, 112.38, 137.505, 3.26, 1.56, 5, 1, 3.4, 0)
R(rx_bb, sab, [(105.12,9.475,115.18,26.45), (105.12,11.035,106.68,27.77), (113.62,11.035,115.18,27.77), (106.82,24.89,110.08,26.45), (110.22,24.89,113.48,26.45), (105.12,26.45,106.68,27.67), (113.62,26.45,115.18,27.67), (25.22,117.215,26.78,136.175), (37.12,117.215,38.68,136.175), (59.58,117.215,61.14,137.505), (74.88,117.215,76.44,137.505), (77.18,117.215,78.74,137.505), (92.48,117.215,94.04,137.505), (94.78,117.215,96.34,137.505), (110.08,117.215,111.64,137.505), (112.38,117.215,113.94,137.505), (127.68,117.215,129.24,137.505), (25.22,117.315,26.78,118.535), (37.12,117.315,38.68,118.535), (59.58,117.315,61.14,118.535), (74.88,117.315,76.44,118.535), (77.18,117.315,78.74,118.535), (92.48,117.315,94.04,118.535), (94.78,117.315,96.34,118.535), (110.08,117.315,111.64,118.535), (112.38,117.315,113.94,118.535), (127.68,117.315,129.24,118.535), (3.62,117.535,9.18,120.095), (15.92,117.535,21.48,120.095), (25.22,118.535,38.68,137.735), (0.62,119.815,3.18,131.57), (9.62,119.815,12.18,131.57), (12.92,119.815,15.48,131.57), (21.92,119.815,24.48,131.57), (3.62,120.095,6.18,131.57), (6.62,120.095,9.18,131.57), (15.92,120.095,18.48,131.57), (18.92,120.095,21.48,131.57), (0.62,131.57,6.18,134.13), (6.62,131.57,12.18,134.13), (12.92,131.57,18.48,134.13), (18.92,131.57,24.48,134.13)])
A(rx_bb, resistor, 59.46, 118.415, 17.1, 20.77, 4, 1, 17.6, 0)
R(rx_bb, resistor, [(105,9.355,115.3,26.57), (105,26.57,106.8,28.68), (113.5,26.57,115.3,28.68), (25.1,116.305,26.9,118.415), (37,116.305,38.8,118.415), (59.46,116.305,61.26,118.415), (74.76,116.305,76.56,118.415), (77.06,116.305,78.86,118.415), (92.36,116.305,94.16,118.415), (94.66,116.305,96.46,118.415), (109.96,116.305,111.76,118.415), (112.26,116.305,114.06,118.415), (127.56,116.305,129.36,118.415), (25.1,118.415,38.8,137.855)])
A(rx_bb, res_mk, 105.4, 9.755, 2.7, 1, 3, 1, 3.4, 0)
A(rx_bb, res_mk, 107.1, 10.755, 1, 14.415, 4, 1, 1.7, 0)
A(rx_bb, res_mk, 59.58, 118.535, 16.86, 20.53, 4, 1, 17.6, 0)
A(rx_bb, res_mk, 27.2, 118.815, 2.7, 1, 3, 1, 3.4, 0)
A(rx_bb, res_mk, 61.56, 118.815, 2.7, 1, 4, 1, 3.4, 0)
A(rx_bb, res_mk, 79.16, 118.815, 2.7, 1, 4, 1, 3.4, 0)
A(rx_bb, res_mk, 96.76, 118.815, 2.7, 1, 4, 1, 3.4, 0)
A(rx_bb, res_mk, 114.36, 118.815, 2.7, 1, 4, 1, 3.4, 0)
A(rx_bb, res_mk, 0.9, 119.815, 2, 12.035, 4, 1, 3, 0)
A(rx_bb, res_mk, 13.2, 119.815, 2, 12.035, 4, 1, 3, 0)
A(rx_bb, res_mk, 27.2, 119.815, 1, 16.64, 6, 1, 1.7, 0)
A(rx_bb, res_mk, 61.56, 119.815, 1, 17.97, 8, 1, 1.7, 0)
A(rx_bb, res_mk, 79.16, 119.815, 1, 17.97, 8, 1, 1.7, 0)
A(rx_bb, res_mk, 96.76, 119.815, 1, 17.97, 8, 1, 1.7, 0)
A(rx_bb, res_mk, 114.36, 119.815, 1, 17.97, 8, 1, 1.7, 0)
A(rx_bb, res_mk, 25.5, 136.455, 2.7, 1, 4, 1, 3.4, 0)
A(rx_bb, res_mk, 59.86, 137.785, 2.7, 1, 5, 1, 3.4, 0)
A(rx_bb, res_mk, 77.46, 137.785, 2.7, 1, 5, 1, 3.4, 0)
A(rx_bb, res_mk, 95.06, 137.785, 2.7, 1, 5, 1, 3.4, 0)
A(rx_bb, res_mk, 112.66, 137.785, 2.7, 1, 5, 1, 3.4, 0)
R(rx_bb, res_mk, [(105.12,9.475,115.18,26.45), (105.4,10.755,106.4,27.67), (113.9,10.755,114.9,27.67), (107.1,25.17,109.8,26.17), (110.5,25.17,113.2,26.17), (105.12,26.45,106.68,27.67), (113.62,26.45,115.18,27.67), (25.22,117.315,26.78,118.535), (25.5,117.315,26.5,136.455), (37.12,117.315,38.68,118.535), (37.4,117.315,38.4,136.455), (59.58,117.315,61.14,118.535), (59.86,117.315,60.86,137.785), (74.88,117.315,76.44,118.535), (75.16,117.315,76.16,137.785), (77.18,117.315,78.74,118.535), (77.46,117.315,78.46,137.785), (92.48,117.315,94.04,118.535), (92.76,117.315,93.76,137.785), (94.78,117.315,96.34,118.535), (95.06,117.315,96.06,137.785), (110.08,117.315,111.64,118.535), (110.36,117.315,111.36,137.785), (112.38,117.315,113.94,118.535), (112.66,117.315,113.66,137.785), (127.68,117.315,129.24,118.535), (127.96,117.315,128.96,137.785), (3.9,117.815,8.9,119.815), (16.2,117.815,21.2,119.815), (25.22,118.535,38.68,137.735), (0.9,131.85,5.9,133.85), (6.9,131.85,11.9,133.85), (13.2,131.85,18.2,133.85), (19.2,131.85,24.2,133.85)])
rx_bb.add(gdstk.Label('o2p', (29.63,29.24), layer=36, texttype=0))
rx_bb.add(gdstk.Label('o2n', (36.43,29.92), layer=36, texttype=0))
rx_bb.add(gdstk.Label('outp', (86.77,30.6), layer=36, texttype=0))
rx_bb.add(gdstk.Label('outn', (87.45,31.28), layer=36, texttype=0))
rx_bb.add(gdstk.Label('vb', (101.91,29.24), layer=36, texttype=0))
rx_bb.add(gdstk.Label('enb', (62.625,82.28), layer=36, texttype=0))
rx_bb.add(gdstk.Label('inp', (34.7,82.96), layer=36, texttype=0))
rx_bb.add(gdstk.Label('t1', (37.625,83.64), layer=36, texttype=0))
rx_bb.add(gdstk.Label('inn', (34.7,84.32), layer=36, texttype=0))
rx_bb.add(gdstk.Label('o1p', (34.06,85), layer=36, texttype=0))
rx_bb.add(gdstk.Label('o1n', (34.7,85.68), layer=36, texttype=0))
rx_bb.add(gdstk.Label('vbt', (8.885,86.36), layer=36, texttype=0))
rx_bb.add(gdstk.Label('g2p', (46.905,87.04), layer=36, texttype=0))
rx_bb.add(gdstk.Label('g2n', (59.195,86.36), layer=36, texttype=0))
rx_bb.add(gdstk.Label('nb', (97.46,82.96), layer=36, texttype=0))
rx_bb.add(gdstk.Label('t2', (81.545,83.64), layer=36, texttype=0))
rx_bb.add(gdstk.Label('outn', (105.895,83.64), layer=36, texttype=0))
rx_bb.add(gdstk.Label('t3', (96.315,84.32), layer=36, texttype=0))
rx_bb.add(gdstk.Label('o2n', (95.41,85), layer=36, texttype=0))
rx_bb.add(gdstk.Label('o2p', (75.32,87.72), layer=36, texttype=0))
rx_bb.add(gdstk.Label('g3n', (105.875,85.68), layer=36, texttype=0))
rx_bb.add(gdstk.Label('outp', (107.215,86.36), layer=36, texttype=0))
rx_bb.add(gdstk.Label('o1n', (17.95,116.28), layer=36, texttype=0))
rx_bb.add(gdstk.Label('vgr', (46.34,115.6), layer=36, texttype=0))
rx_bb.add(gdstk.Label('vbt', (20.82,114.24), layer=36, texttype=0))
rx_bb.add(gdstk.Label('g2p', (34.62,113.56), layer=36, texttype=0))
rx_bb.add(gdstk.Label('mRp2a', (37.41,112.88), layer=36, texttype=0))
rx_bb.add(gdstk.Label('g2n', (47.99,116.28), layer=36, texttype=0))
rx_bb.add(gdstk.Label('mRp2b', (50.78,114.24), layer=36, texttype=0))
rx_bb.add(gdstk.Label('o2p', (65.16,113.56), layer=36, texttype=0))
rx_bb.add(gdstk.Label('vb', (49.735,112.2), layer=36, texttype=0))
rx_bb.add(gdstk.Label('o2n', (63.16,116.28), layer=36, texttype=0))
rx_bb.add(gdstk.Label('g3p', (90.3,114.24), layer=36, texttype=0))
rx_bb.add(gdstk.Label('mRp3a', (93.09,116.28), layer=36, texttype=0))
rx_bb.add(gdstk.Label('outn', (108.98,115.6), layer=36, texttype=0))
rx_bb.add(gdstk.Label('g3n', (103.67,113.56), layer=36, texttype=0))
rx_bb.add(gdstk.Label('outp', (117.1,116.28), layer=36, texttype=0))
rx_bb.add(gdstk.Label('mRp3b', (106.46,112.88), layer=36, texttype=0))
rx_bb.add(gdstk.Label('vgr', (72.695,83.64), layer=42, texttype=0))
rx_bb.add(gdstk.Label('g3p', (89.085,88.4), layer=42, texttype=0))
rx_bb.add(gdstk.Label('o1p', (14.24,114.24), layer=42, texttype=0))
rx_bb.add(gdstk.Label('nb', (125.12,-2.2), layer=42, texttype=10))
rx_bb.add(gdstk.Label('inp', (36.72,-2.2), layer=42, texttype=10))
rx_bb.add(gdstk.Label('inn', (38.08,-2.2), layer=42, texttype=10))
rx_bb.add(gdstk.Label('enb', (123.76,-2.2), layer=42, texttype=10))
rx_bb.add(gdstk.Label('outp', (121.04,-2.2), layer=42, texttype=10))
rx_bb.add(gdstk.Label('outn', (122.4,-2.2), layer=42, texttype=10))
rx_bb.add(gdstk.Label('VSS', (1,-1.2), layer=36, texttype=10))
rx_bb.add(gdstk.Label('VDD', (1,104.42), layer=36, texttype=10))

lib.write_gds('rx_bb.gds')
